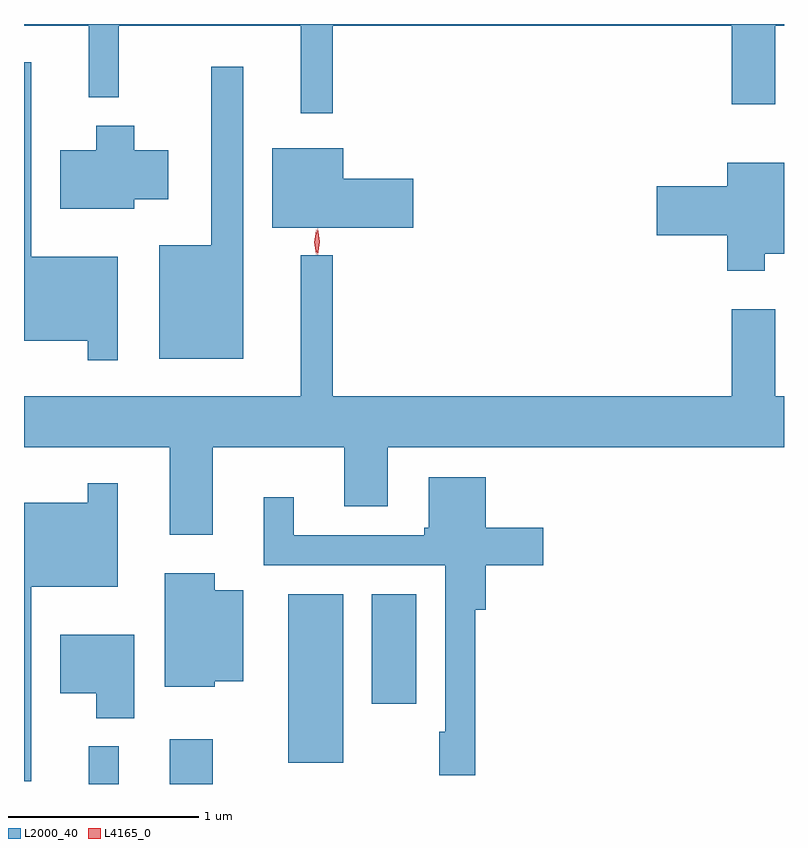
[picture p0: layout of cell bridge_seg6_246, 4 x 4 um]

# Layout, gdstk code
import gdstk
lib = gdstk.Library(unit=1e-6, precision=1e-09)
def R(c, l, rs):  # rectangles x0, y0, x1, y1
    for r in rs: c.add(gdstk.rectangle(r[:2], r[2:], *l))
def P(c, l, *ps):  # polygons
    for p in ps: c.add(gdstk.Polygon(p, *l))
L2000_40 = (2000, 40)
L4165_0 = (4165, 0)

bridge_seg6_246 = lib.new_cell('bridge_seg6_246')
R(bridge_seg6_246, L2000_40, [(1396.306,1570.464,1396.464,1570.663), (1396.731,1570.464,1396.959,1570.699), (1397.356,1570.576,1397.644,1571.464), (1397.796,1570.886,1398.029,1571.464)])
P(bridge_seg6_246, L2000_40, [(1397.589,1574.456),(1399.691,1574.456),(1399.691,1574.041),(1399.919,1574.041),(1399.919,1574.456),(1399.965,1574.456),(1399.965,1574.464),(1395.965,1574.464),(1395.965,1574.456),(1396.306,1574.456),(1396.306,1574.078),(1396.464,1574.078),(1396.464,1574.456),(1397.421,1574.456),(1397.421,1573.993),(1397.589,1573.993)],
  [(1396.459,1573.239),(1396.004,1573.239),(1396.004,1574.263),(1395.965,1574.263),(1395.965,1572.796),(1396.301,1572.796),(1396.301,1572.693),(1396.459,1572.693)],
  [(1397.119,1574.238),(1396.951,1574.238),(1396.951,1573.299),(1396.676,1573.299),(1396.676,1572.701),(1397.119,1572.701)],
  [(1396.544,1573.541),(1396.724,1573.541),(1396.724,1573.799),(1396.544,1573.799),(1396.544,1573.929),(1396.346,1573.929),(1396.346,1573.799),(1396.156,1573.799),(1396.156,1573.491),(1396.544,1573.491)],
  [(1398.014,1573.649),(1397.644,1573.649),(1397.644,1573.809),(1397.271,1573.809),(1397.271,1573.391),(1398.014,1573.391)],
  [(1399.864,1573.256),(1399.965,1573.256),(1399.965,1573.734),(1399.666,1573.734),(1399.666,1573.609),(1399.296,1573.609),(1399.296,1573.351),(1399.666,1573.351),(1399.666,1573.166),(1399.864,1573.166)],
  [(1396.959,1572.236),(1397.651,1572.236),(1397.651,1571.926),(1397.879,1571.926),(1397.879,1572.236),(1399.965,1572.236),(1399.965,1572.504),(1399.919,1572.504),(1399.919,1572.964),(1399.691,1572.964),(1399.691,1572.504),(1397.589,1572.504),(1397.589,1573.248),(1397.421,1573.248),(1397.421,1572.504),(1395.965,1572.504),(1395.965,1572.236),(1396.731,1572.236),(1396.731,1571.776),(1396.959,1571.776)],
  [(1398.339,1571.381),(1398.394,1571.381),(1398.394,1571.616),(1398.699,1571.616),(1398.699,1571.814),(1398.394,1571.814),(1398.394,1572.079),(1398.096,1572.079),(1398.096,1571.814),(1398.071,1571.814),(1398.071,1571.774),(1397.384,1571.774),(1397.384,1571.973),(1397.226,1571.973),(1397.226,1571.616),(1398.181,1571.616),(1398.181,1570.739),(1398.151,1570.739),(1398.151,1570.511),(1398.339,1570.511)],
  [(1396.004,1571.501),(1396.459,1571.501),(1396.459,1572.048),(1396.301,1572.048),(1396.301,1571.944),(1395.965,1571.944),(1395.965,1570.478),(1396.004,1570.478)],
  [(1396.969,1571.006),(1397.119,1571.006),(1397.119,1571.484),(1396.969,1571.484),(1396.969,1571.574),(1396.706,1571.574),(1396.706,1570.976),(1396.969,1570.976)],
  [(1396.544,1571.249),(1396.156,1571.249),(1396.156,1570.941),(1396.346,1570.941),(1396.346,1570.811),(1396.544,1570.811)])
P(bridge_seg6_246, L4165_0, [(1397.51,1573.25),(1397.51,1573.25),(1397.501,1573.318),(1397.512,1573.386),(1397.512,1573.386),(1397.512,1573.386),(1397.521,1573.318),(1397.511,1573.25)],
  [(1397.502,1573.253),(1397.492,1573.316),(1397.502,1573.379),(1397.502,1573.38),(1397.503,1573.379),(1397.512,1573.316),(1397.503,1573.253),(1397.503,1573.253)])

lib.write_gds('bridge_seg6_246.gds')
